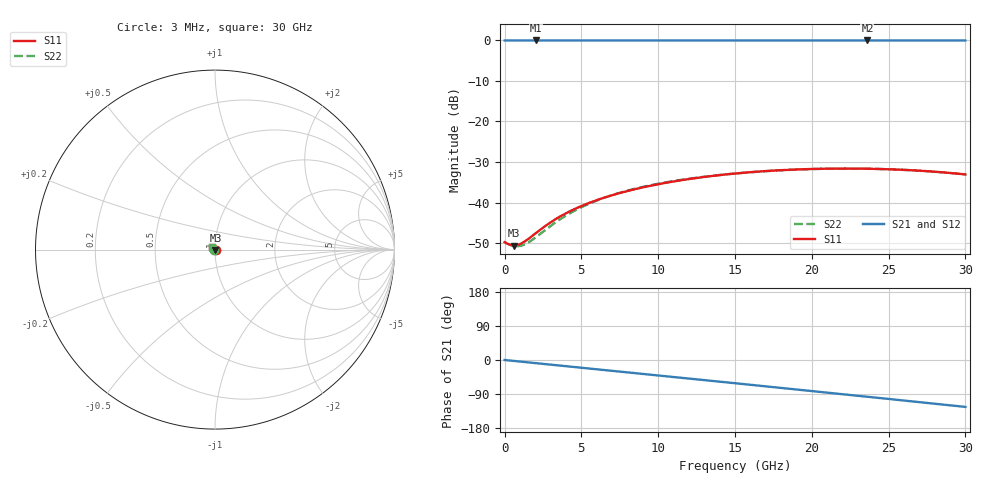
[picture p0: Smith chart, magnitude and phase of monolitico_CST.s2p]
! TOUCHSTONE file generated by CST MICROWAVE STUDIO
! Date and time: Thu Mar 27 11:07:56 2025
! Project name: monolitic.cst
! Header version: 2018
! Port assignment regex: !\s*Touchstone port\s*([0-9]+)\s*=\s*(CST MWS port|CST DS port)\s*([0-9]+|Zmin|Zmax)\s*\(\"(.*)\"\)(\s*mode\s*([0-9]+))?.*
! Touchstone port assignment:
! Touchstone port 1 = CST MWS port 1 ("")
! Touchstone port 2 = CST MWS port 2 ("")
! S-Parameters are not renormalized. Unphysical impedance of 50 will be written to the file.
# GHz S MA R 50
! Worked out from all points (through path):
!   10003 points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, 3 MHz to 30 GHz, reference per port
!   highest |S21| = 0.00 dB at 2.07 GHz (marker M1); lowest = 0.0 dB at 23.62 GHz (marker M2)
!   group delay of S21, straight-line fit = 11.5 ps
!   lowest |S11| = -50.6 dB at 612 MHz (marker M3), VSWR 1.01
!   |S11| at or under -10 dB: start of sweep to end of sweep
!   |S22| runs from -50.8 to -31.6 dB; largest |S21 - S12| = 1.6e-05
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0.003  0.003247 -1.7  1 -0.0  1 -0.0  0.003244 179.7
0.357  0.003003 -16.2  1 -1.4  1 -1.4  0.003012 -171.6
0.612  0.002949 -27.5  1 -2.5  1 -2.5  0.002917 -164.3
0.915  0.00302 -40.6  1 -3.7  1 -3.7  0.0029 -155.0
1.257  0.003255 -53.8  1 -5.1  1 -5.1  0.003012 -144.7
1.611  0.003629 -65.1  1 -6.5  1 -6.5  0.003268 -135.3
2.07  0.004241 -76.4  1 -8.4  1 -8.4  0.00377 -125.9
3.471  0.00648 -96.4  1 -14.1  1 -14.1  0.005964 -113.3
5.004  0.009057 -108.0  1 -20.3  1 -20.3  0.008753 -112.8
6.066  0.01081 -113.9  1 -24.7  0.9999 -24.7  0.01069 -115.5
7.242  0.0127 -119.4  0.9999 -29.5  0.9999 -29.5  0.01275 -119.5
8.547  0.0147 -125.0  0.9999 -34.8  0.9999 -34.8  0.01489 -124.7
10.002  0.01682 -130.9  0.9998 -40.7  0.9998 -40.7  0.01706 -130.7
12.57  0.02019 -141.1  0.9998 -51.3  0.9998 -51.3  0.02034 -141.5
15.003  0.02281 -150.9  0.9997 -61.3  0.9997 -61.3  0.02281 -151.6
17.529  0.0248 -161.2  0.9997 -71.7  0.9997 -71.7  0.02472 -162.1
20.001  0.02595 -171.4  0.9997 -81.9  0.9997 -81.9  0.02588 -172.4
21.816  0.02625 -178.9  0.9997 -89.5  0.9997 -89.5  0.02624 180.0
23.622  0.02612 173.6  0.9997 -97.0  0.9997 -97.0  0.02614 172.3
25.002  0.02573 167.9  0.9997 -102.8  0.9997 -102.8  0.02575 166.5
27.411  0.02445 157.9  0.9997 -112.9  0.9997 -112.9  0.02444 156.3
30  0.02221 147.2  0.9998 -123.8  0.9997 -123.8  0.02221 145.2
